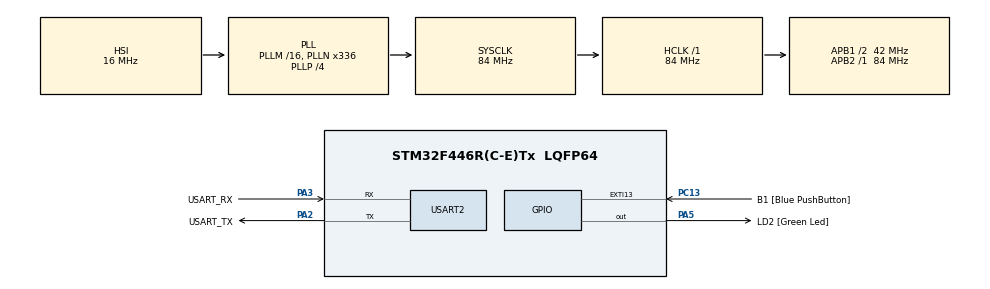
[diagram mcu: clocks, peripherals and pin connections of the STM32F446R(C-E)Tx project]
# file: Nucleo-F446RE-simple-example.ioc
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Mcu.Family=STM32F4
Mcu.Name=STM32F446R(C-E)Tx
Mcu.Package=LQFP64
NVIC.PriorityGroup=NVIC_PRIORITYGROUP_0
PA13.GPIO_Label=TMS
PA13.Mode=Serial_Wire
PA13.Signal=SYS_JTMS-SWDIO
PA14.GPIO_Label=TCK
PA14.Mode=Serial_Wire
PA14.Signal=SYS_JTCK-SWCLK
PA2.GPIO_Label=USART_TX
PA2.Mode=Asynchronous
PA2.Signal=USART2_TX
PA3.GPIO_Label=USART_RX
PA3.Mode=Asynchronous
PA3.Signal=USART2_RX
PA5.GPIO_Label=LD2 [Green Led]
PA5.Signal=GPIO_Output
PB3.GPIO_Label=SWO
PB3.Signal=SYS_JTDO-SWO
PC13.GPIO_Label=B1 [Blue PushButton]
PC13.GPIO_ModeDefaultEXTI=GPIO_MODE_IT_FALLING
PC13.Signal=GPXTI13
PC14-OSC32_IN.Mode=LSE-External-Oscillator
PC14-OSC32_IN.Signal=RCC_OSC32_IN
PC15-OSC32_OUT.Mode=LSE-External-Oscillator
PC15-OSC32_OUT.Signal=RCC_OSC32_OUT
PH0-OSC_IN.Mode=HSE-External-Oscillator
PH0-OSC_IN.Signal=RCC_OSC_IN
PH1-OSC_OUT.Mode=HSE-External-Oscillator
PH1-OSC_OUT.Signal=RCC_OSC_OUT
ProjectManager.HeapSize=0x200
ProjectManager.StackSize=0x400
ProjectManager.TargetToolchain=STM32CubeIDE
RCC.48MHZClocksFreq_Value=84000000
RCC.AHBFreq_Value=84000000
RCC.APB1CLKDivider=RCC_HCLK_DIV2
RCC.APB1Freq_Value=42000000
RCC.APB1TimFreq_Value=84000000
RCC.APB2Freq_Value=84000000
RCC.APB2TimFreq_Value=84000000
RCC.CortexFreq_Value=84000000
RCC.FLatency-AdvancedSettings=FLASH_LATENCY_2
RCC.HCLKFreq_Value=84000000
RCC.HSE_VALUE=8000000
RCC.HSI_VALUE=16000000
RCC.PLLN=336
RCC.PLLP=RCC_PLLP_DIV4
RCC.SYSCLKFreq_VALUE=84000000
RCC.SYSCLKSource=RCC_SYSCLKSOURCE_PLLCLK
RCC.USBFreq_Value=168000000
RCC.VCOOutputFreq_Value=336000000
USART2.VirtualMode=VM_ASYNC
board=NUCLEO-F446RE

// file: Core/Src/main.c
/* USER CODE BEGIN Header */
/**
 ******************************************************************************
 * @file           : main.c
 * @brief          : Main program body
 ******************************************************************************
 * @attention
 *
 * Copyright (c) 2024 STMicroelectronics.
 * All rights reserved.
 *
 * This software is licensed under terms that can be found in the LICENSE file
 * in the root directory of this software component.
 * If no LICENSE file comes with this software, it is provided AS-IS.
 *
 *
 * This is a simple project on how to use the noRTOS Api. It requires a STM32 Nucleo Board in default configuration.
 * Any Nucleo Board will work since there is no external hardware  involved (shields, extensions etc.).
 * The only components used in this demo are the onboard green LED, blue push button and UART2 as a serial terminal (printf).
 *
 *
 *
 ******************************************************************************
 */
/* USER CODE END Header */
#include "main.h"
#include "usart.h"
#include "gpio.h"

/* USER CODE BEGIN Includes */
#include "noRTOS.h"
/* USER CODE END Includes */

void SystemClock_Config(void);

/* USER CODE BEGIN 0 */
static uint8_t global_button_state = 0;
static bool global_button_event = false;

/* create some callback function you like to run
 * consider each as individual non blocking main()-loops*/
	void read_button_state(void){
		uint8_t button = NUCLEO_BUTTON_READ();
			if (button != global_button_state) {
				global_button_state = button;
				global_button_event = true;
			}
	}

	void blinky(void) {
		NUCLEO_LED_turn_toggle();
	}

	void inter_task_communication(void) {
		if (global_button_event) {
			global_button_event = false;
			if(global_button_state == 1){
				printf("Button got released\n");
			}else if (global_button_state == 0) {
				printf("Button got pressed\n");
			}
		}
	}

	void timing(void) {
		static uint32_t time_stamp_last_call = 0;
		uint32_t now = NORTOS_SCHEDULAR_GET_TICK();
		printf("differnce from now to previous call is %ld ms\n",
				(now - time_stamp_last_call));
		time_stamp_last_call = now;
	}

	void test_callback1(void) {
		printf("Testing printf with _write() override\n\n");
	}

	void test_callback2(void) {
		printf("\tHello World Task 2\n");
	}

	void test_callback3(void) {
		printf("\t\tHello World Task 3\n");
	}

/* USER CODE END 0 */

int main(void) {

	/* MCU Configuration--------------------------------------------------------*/

	/* Reset of all peripherals, Initializes the Flash interface and the Systick. */
	HAL_Init();

	/* Configure the system clock */
	SystemClock_Config();

	/* Initialize all configured peripherals */
	MX_GPIO_Init();
	MX_USART2_UART_Init();
	/* USER CODE BEGIN 2 */

	/* now I create some tasks and add them to the scheduler */
	noRTOS_task_t button = { .delay = eNORTOS_PERIODE_10ms, .task_callback = read_button_state };
	noRTOS_add_task_to_scheduler(&button);

	noRTOS_task_t task_communication = { .delay = eNORTOS_PERIODE_100ms, .task_callback = inter_task_communication };
	noRTOS_add_task_to_scheduler(&task_communication);

	noRTOS_task_t blinky_t = { .delay = eNORTOS_PERIODE_1s, .task_callback = blinky };
	noRTOS_add_task_to_scheduler(&blinky_t);

	noRTOS_task_t task_timing = { .delay = eNORTOS_PERIODE_500ms, .task_callback = timing };
	noRTOS_add_task_to_scheduler(&task_timing);

	noRTOS_task_t test_task1 = { .delay = eNORTOS_PERIODE_1s, .task_callback = test_callback1 };
	noRTOS_add_task_to_scheduler(&test_task1);

	noRTOS_task_t test_task2 = { .delay = eNORTOS_PERIODE_5s, .task_callback = test_callback2 };
	noRTOS_add_task_to_scheduler(&test_task2);

	noRTOS_task_t test_task3 = { .delay = eNORTOS_PERIODE_30s, .task_callback = test_callback3 };
	noRTOS_add_task_to_scheduler(&test_task3);

	/* this runs for ever */
	noRTOS_run_scheduler();

	/* never get here! */

	/* USER CODE END 2 */

	/* Infinite loop */
	while (1) {

	}
}

void SystemClock_Config(void) {
	RCC_OscInitTypeDef RCC_OscInitStruct = { 0 };
	RCC_ClkInitTypeDef RCC_ClkInitStruct = { 0 };

	/** Configure the main internal regulator output voltage
	 */
	__HAL_RCC_PWR_CLK_ENABLE();
	__HAL_PWR_VOLTAGESCALING_CONFIG(PWR_REGULATOR_VOLTAGE_SCALE3);

	/** Initializes the RCC Oscillators according to the specified parameters
	 * in the RCC_OscInitTypeDef structure.
	 */
	RCC_OscInitStruct.OscillatorType = RCC_OSCILLATORTYPE_HSI;
	RCC_OscInitStruct.HSIState = RCC_HSI_ON;
	RCC_OscInitStruct.HSICalibrationValue = RCC_HSICALIBRATION_DEFAULT;
	RCC_OscInitStruct.PLL.PLLState = RCC_PLL_ON;
	RCC_OscInitStruct.PLL.PLLSource = RCC_PLLSOURCE_HSI;
	RCC_OscInitStruct.PLL.PLLM = 16;
	RCC_OscInitStruct.PLL.PLLN = 336;
	RCC_OscInitStruct.PLL.PLLP = RCC_PLLP_DIV4;
	RCC_OscInitStruct.PLL.PLLQ = 2;
	RCC_OscInitStruct.PLL.PLLR = 2;
	if (HAL_RCC_OscConfig(&RCC_OscInitStruct) != HAL_OK) {
		Error_Handler();
	}

	/** Initializes the CPU, AHB and APB buses clocks
	 */
	RCC_ClkInitStruct.ClockType = RCC_CLOCKTYPE_HCLK | RCC_CLOCKTYPE_SYSCLK
			| RCC_CLOCKTYPE_PCLK1 | RCC_CLOCKTYPE_PCLK2;
	RCC_ClkInitStruct.SYSCLKSource = RCC_SYSCLKSOURCE_PLLCLK;
	RCC_ClkInitStruct.AHBCLKDivider = RCC_SYSCLK_DIV1;
	RCC_ClkInitStruct.APB1CLKDivider = RCC_HCLK_DIV2;
	RCC_ClkInitStruct.APB2CLKDivider = RCC_HCLK_DIV1;

	if (HAL_RCC_ClockConfig(&RCC_ClkInitStruct, FLASH_LATENCY_2) != HAL_OK) {
		Error_Handler();
	}
}

void Error_Handler(void) {
	__disable_irq();
	while (1) {
	}
}
